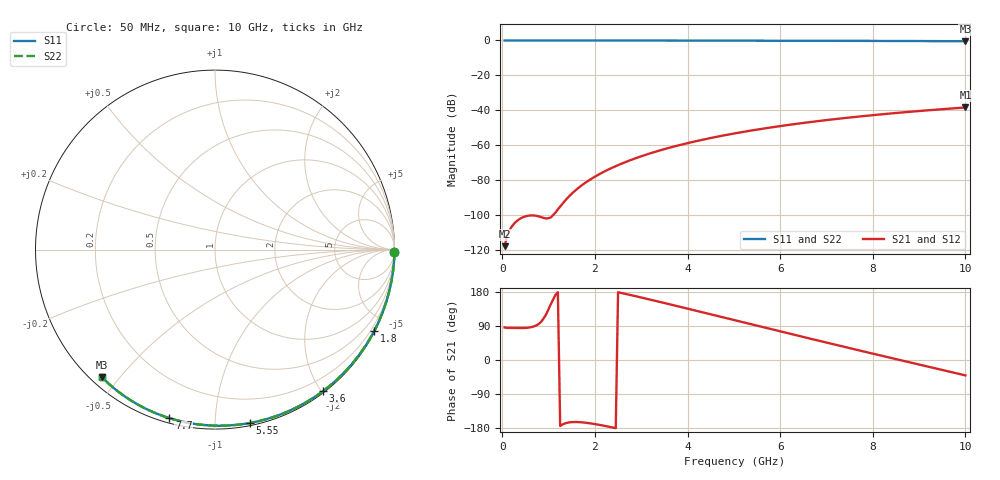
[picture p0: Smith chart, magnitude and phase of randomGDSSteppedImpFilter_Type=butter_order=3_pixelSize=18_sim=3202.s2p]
! freq	dB(S11)	phase(S11)	dB(S12)	phase(S12)
!  dB(S21)	phase(S21)	dB(S22)	phase(S22)
!S-par simulation data
#  GHz  S  DB  R 50
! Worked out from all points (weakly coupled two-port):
!   200 points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, 50 MHz to 10 GHz, reference 50 ohm
!   highest |S21| = -38.40 dB at 10 GHz (marker M1); lowest = -117.9 dB at 50 MHz (marker M2)
!   lowest |S11| = -0.4 dB at 10 GHz (marker M3), VSWR 38.98, Z = 1.54 - j22.5 ohm
!   |S11| at or under -10 dB: nowhere
!   |S22| runs from -0.4 to 0.0 dB; largest |S21 - S12| = 0
!   S11 on the Smith chart (normalised r, x): 50 MHz: open; 1.8 GHz: 0.04, -4.17; 3.6 GHz: 0.02, -2.02; 5.55 GHz: 0.02, -1.22; 7.7 GHz: 0.02, -0.77; 10 GHz: 0.03, -0.45
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0.05  -0.00 -0.8  -117.86 85.9  -117.86 85.9  -0.00 -0.8
0.9  -0.02 -13.6  -101.76 111.2  -101.76 111.2  -0.02 -13.6
1.75  -0.03 -26.2  -82.33 -164.9  -82.33 -164.9  -0.03 -26.2
1.8  -0.03 -27.0  -81.39 -165.5  -81.39 -165.5  -0.03 -27.0
1.85  -0.04 -27.7  -80.50 -166.3  -80.50 -166.3  -0.04 -27.7
1.9  -0.04 -28.4  -79.64 -167.2  -79.64 -167.2  -0.04 -28.4
2.05  -0.04 -30.6  -77.26 -170.2  -77.26 -170.2  -0.04 -30.6
2.25  -0.04 -33.5  -74.46 -174.8  -74.46 -174.8  -0.04 -33.6
2.45  -0.05 -36.4  -71.98 -179.9  -71.98 -179.9  -0.05 -36.5
2.65  -0.05 -39.3  -69.76 174.8  -69.76 174.8  -0.05 -39.3
3  -0.06 -44.3  -66.35 165.0  -66.35 165.0  -0.06 -44.3
3.4  -0.07 -49.9  -63.02 153.3  -63.02 153.3  -0.07 -50.0
3.6  -0.07 -52.7  -61.53 147.5  -61.53 147.5  -0.07 -52.7
4.3  -0.09 -62.3  -57.02 126.6  -57.02 126.6  -0.09 -62.3
5.05  -0.11 -72.3  -53.09 104.1  -53.09 104.1  -0.11 -72.3
5.55  -0.13 -78.7  -50.86 89.1  -50.86 89.1  -0.13 -78.8
6.1  -0.15 -85.7  -48.68 72.7  -48.68 72.7  -0.15 -85.8
6.7  -0.18 -93.1  -46.58 54.9  -46.58 54.9  -0.18 -93.2
7.7  -0.24 -105.1  -43.59 25.5  -43.59 25.5  -0.24 -105.2
8.35  -0.29 -112.7  -41.92 6.7  -41.92 6.7  -0.29 -112.8
9.15  -0.36 -121.9  -40.10 -16.3  -40.10 -16.3  -0.36 -122.0
10  -0.45 -131.6  -38.40 -40.6  -38.40 -40.6  -0.45 -131.6
